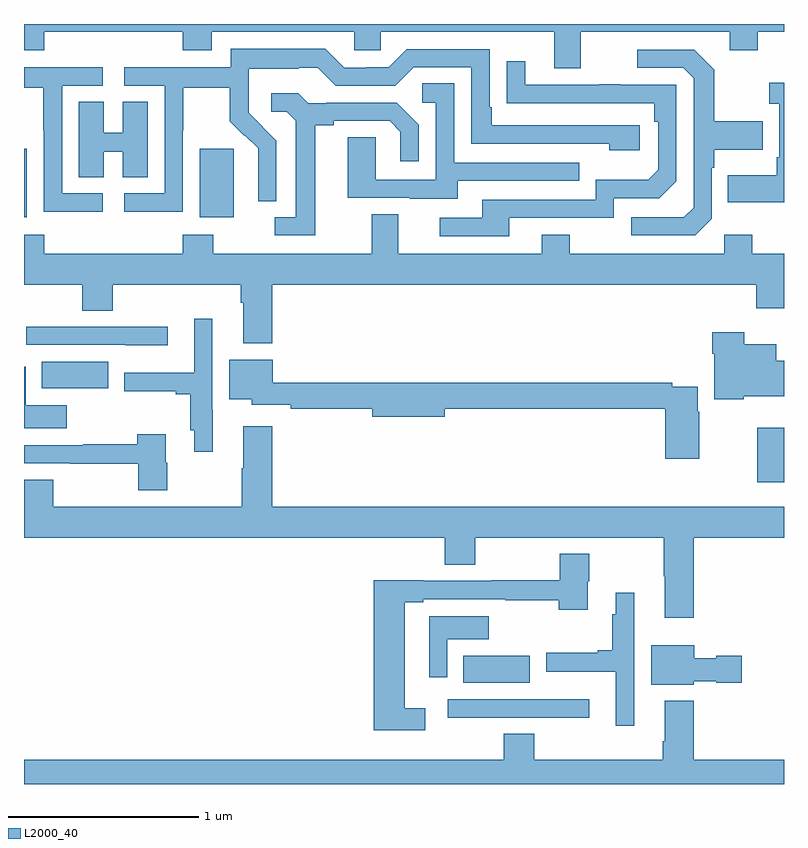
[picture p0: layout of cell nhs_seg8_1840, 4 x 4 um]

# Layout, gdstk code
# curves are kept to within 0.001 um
import gdstk
lib = gdstk.Library(unit=1e-6, precision=1e-09)
def R(c, l, rs):  # rectangles x0, y0, x1, y1
    for r in rs: c.add(gdstk.rectangle(r[:2], r[2:], *l))
def P(c, l, *ps):  # polygons
    for p in ps: c.add(gdstk.Polygon(p, *l))
L2000_40 = (2000, 40)

nhs_seg8_1840 = lib.new_cell('nhs_seg8_1840')
R(nhs_seg8_1840, L2000_40, [(231.313,1086.434,231.663,1086.574), (232.858,1087.488,233,1087.774), (229.093,1087.982,229.443,1088.122), (229,1088.882,229.015,1089.243), (229.925,1088.882,230.104,1089.243)])
P(nhs_seg8_1840, L2000_40, [(231.931,1089.86),(232.715,1089.86),(232.715,1089.761),(232.863,1089.761),(232.863,1089.86),(233,1089.86),(233,1089.9),(229,1089.9),(229,1089.761),(229.106,1089.761),(229.106,1089.86),(229.835,1089.86),(229.835,1089.761),(229.987,1089.761),(229.987,1089.86),(230.739,1089.86),(230.739,1089.762),(230.877,1089.762),(230.877,1089.86),(231.791,1089.86),(231.791,1089.666),(231.931,1089.666)],
  [(229.836,1089.34),(229.839,1089.34),(229.839,1089.564),(230.083,1089.564),(230.083,1089.389),(230.16,1089.312),(230.163,1089.315),(230.234,1089.245),(230.234,1089.122),(230.232,1089.122),(230.232,1088.968),(230.328,1088.968),(230.328,1089.286),(230.182,1089.434),(230.182,1089.531),(230.184,1089.531),(230.184,1089.665),(230.447,1089.665),(230.447,1089.669),(230.547,1089.669),(230.64,1089.576),(230.955,1089.576),(231.051,1089.672),(231.354,1089.672),(231.354,1089.27),(232.079,1089.27),(232.079,1089.236),(232.24,1089.236),(232.24,1089.366),(231.463,1089.366),(231.463,1089.463),(231.45,1089.463),(231.45,1089.768),(231.015,1089.768),(230.919,1089.672),(230.801,1089.672),(230.801,1089.669),(230.685,1089.669),(230.585,1089.769),(230.088,1089.769),(230.088,1089.672),(229.527,1089.672),(229.527,1089.576),(229.74,1089.576),(229.74,1089.009),(229.527,1089.009),(229.527,1088.911),(229.836,1088.911)],
  [(232.62,1088.874),(232.62,1089.143),(232.633,1089.143),(232.633,1089.239),(232.889,1089.239),(232.889,1089.387),(232.633,1089.387),(232.633,1089.659),(232.527,1089.765),(232.227,1089.765),(232.227,1089.669),(232.47,1089.669),(232.524,1089.615),(232.524,1088.934),(232.473,1088.883),(232.197,1088.883),(232.197,1088.787),(232.533,1088.787)],
  [(231.553,1088.88),(232.104,1088.88),(232.104,1088.982),(232.344,1088.982),(232.434,1089.072),(232.434,1089.579),(232.139,1089.579),(232.139,1089.584),(232.027,1089.584),(232.027,1089.579),(231.637,1089.579),(231.637,1089.703),(231.541,1089.703),(231.541,1089.484),(232.318,1089.483),(232.318,1089.386),(232.338,1089.386),(232.338,1089.132),(232.285,1089.079),(232.008,1089.079),(232.008,1088.976),(231.413,1088.976),(231.413,1088.88),(231.189,1088.88),(231.189,1088.784),(231.553,1088.784)],
  [(229.414,1089.009),(229.2,1089.009),(229.2,1089.576),(229.414,1089.576),(229.414,1089.672),(229,1089.672),(229,1089.564),(229.102,1089.564),(229.102,1089.34),(229.104,1089.34),(229.104,1088.911),(229.414,1088.911)],
  [(233,1089.592),(232.923,1089.592),(232.923,1089.479),(232.974,1089.479),(232.974,1089.199),(232.962,1089.199),(232.962,1089.103),(232.705,1089.103),(232.705,1088.963),(233,1088.963)],
  [(231.283,1089.075),(231.923,1089.075),(231.923,1089.171),(231.264,1089.171),(231.264,1089.587),(231.096,1089.587),(231.096,1089.486),(231.168,1089.486),(231.168,1089.081),(230.85,1089.081),(230.85,1089.305),(230.705,1089.305),(230.705,1088.985),(231.029,1088.985),(231.029,1088.981),(231.283,1088.981)],
  [(230.533,1089.368),(230.629,1089.368),(230.629,1089.39),(230.924,1089.39),(230.981,1089.333),(230.981,1089.177),(231.078,1089.177),(231.078,1089.37),(230.962,1089.486),(230.59,1089.486),(230.59,1089.483),(230.496,1089.483),(230.444,1089.535),(230.301,1089.535),(230.301,1089.438),(230.382,1089.438),(230.429,1089.391),(230.429,1088.883),(230.319,1088.883),(230.319,1088.787),(230.533,1088.787)],
  [(229.42,1089.227),(229.52,1089.227),(229.52,1089.094),(229.651,1089.094),(229.651,1089.491),(229.52,1089.491),(229.52,1089.327),(229.42,1089.327),(229.42,1089.491),(229.289,1089.491),(229.289,1089.094),(229.42,1089.094)],
  [(230.306,1088.528),(232.853,1088.528),(232.853,1088.404),(233,1088.404),(233,1088.692),(232.833,1088.692),(232.833,1088.791),(232.686,1088.791),(232.686,1088.692),(231.873,1088.692),(231.873,1088.791),(231.725,1088.791),(231.725,1088.692),(230.971,1088.692),(230.971,1088.9),(230.831,1088.9),(230.831,1088.692),(229.995,1088.692),(229.995,1088.791),(229.835,1088.791),(229.835,1088.692),(229.106,1088.692),(229.106,1088.791),(229,1088.791),(229,1088.528),(229.306,1088.528),(229.306,1088.392),(229.466,1088.392),(229.466,1088.528),(230.141,1088.528),(230.141,1088.432),(230.153,1088.432),(230.153,1088.219),(230.306,1088.219)],
  [(229.993,1087.871),(229.992,1087.871),(229.992,1088.35),(229.895,1088.35),(229.895,1088.065),(229.528,1088.065),(229.528,1087.966),(229.799,1087.966),(229.799,1087.952),(229.876,1087.952),(229.876,1087.762),(229.895,1087.762),(229.895,1087.65),(229.993,1087.65)],
  [(229.756,1088.307),(229.011,1088.307),(229.011,1088.211),(229.536,1088.211),(229.536,1088.21),(229.756,1088.21)],
  [(232.788,1087.94),(233,1087.94),(233,1088.128),(232.96,1088.128),(232.96,1088.215),(232.792,1088.215),(232.792,1088.278),(232.622,1088.278),(232.622,1088.165),(232.634,1088.165),(232.634,1087.925),(232.788,1087.925)],
  [(232.554,1087.859),(232.546,1087.859),(232.546,1087.992),(232.412,1087.992),(232.412,1088.012),(230.308,1088.012),(230.308,1088.134),(230.081,1088.134),(230.081,1087.925),(230.198,1087.925),(230.198,1087.896),(230.404,1087.896),(230.404,1087.876),(230.834,1087.876),(230.834,1087.834),(231.214,1087.834),(231.214,1087.876),(232.376,1087.876),(232.376,1087.611),(232.554,1087.611)],
  [(229.225,1087.894),(229.008,1087.894),(229.008,1088.095),(229,1088.095),(229,1087.773),(229.225,1087.773)],
  [(232.526,1087.196),(233,1087.196),(233,1087.36),(230.306,1087.36),(230.306,1087.783),(230.153,1087.783),(230.153,1087.562),(230.146,1087.562),(230.146,1087.36),(229.155,1087.36),(229.155,1087.502),(229,1087.502),(229,1087.196),(231.215,1087.196),(231.215,1087.054),(231.375,1087.054),(231.375,1087.196),(232.366,1087.196),(232.366,1086.994),(232.373,1086.994),(232.373,1086.774),(232.526,1086.774)],
  [(229.755,1087.59),(229.747,1087.59),(229.747,1087.741),(229.595,1087.741),(229.595,1087.688),(229.312,1087.688),(229.312,1087.683),(229,1087.683),(229,1087.587),(229.243,1087.587),(229.243,1087.585),(229.6,1087.585),(229.6,1087.446),(229.755,1087.446)],
  [(231.112,1086.299),(231.004,1086.299),(231.004,1086.857),(231.1,1086.857),(231.1,1086.873),(231.532,1086.873),(231.532,1086.868),(231.815,1086.868),(231.815,1086.816),(231.967,1086.816),(231.967,1086.966),(231.975,1086.966),(231.975,1087.111),(231.82,1087.111),(231.82,1086.972),(231.463,1086.972),(231.463,1086.969),(231.1,1086.969),(231.1,1086.972),(230.84,1086.972),(230.84,1086.182),(231.112,1086.182)],
  [(232.212,1086.685),(232.213,1086.685),(232.213,1086.907),(232.115,1086.907),(232.115,1086.794),(232.096,1086.794),(232.096,1086.604),(232.019,1086.604),(232.019,1086.591),(231.748,1086.591),(231.748,1086.491),(232.115,1086.491),(232.115,1086.207),(232.212,1086.207)],
  [(231.228,1086.662),(231.445,1086.662),(231.445,1086.783),(231.133,1086.783),(231.133,1086.68),(231.132,1086.68),(231.132,1086.462),(231.228,1086.462)],
  [(232.524,1086.44),(232.644,1086.44),(232.644,1086.433),(232.777,1086.433),(232.777,1086.575),(232.644,1086.575),(232.644,1086.562),(232.528,1086.562),(232.528,1086.631),(232.301,1086.631),(232.301,1086.422),(232.524,1086.422)],
  [(231.976,1086.346),(231.756,1086.346),(231.756,1086.345),(231.231,1086.345),(231.231,1086.249),(231.976,1086.249)],
  [(229,1085.9),(233,1085.9),(233,1086.028),(232.526,1086.028),(232.526,1086.337),(232.373,1086.337),(232.373,1086.124),(232.361,1086.124),(232.361,1086.028),(231.686,1086.028),(231.686,1086.164),(231.526,1086.164),(231.526,1086.028),(229,1086.028)])

lib.write_gds('nhs_seg8_1840.gds')
